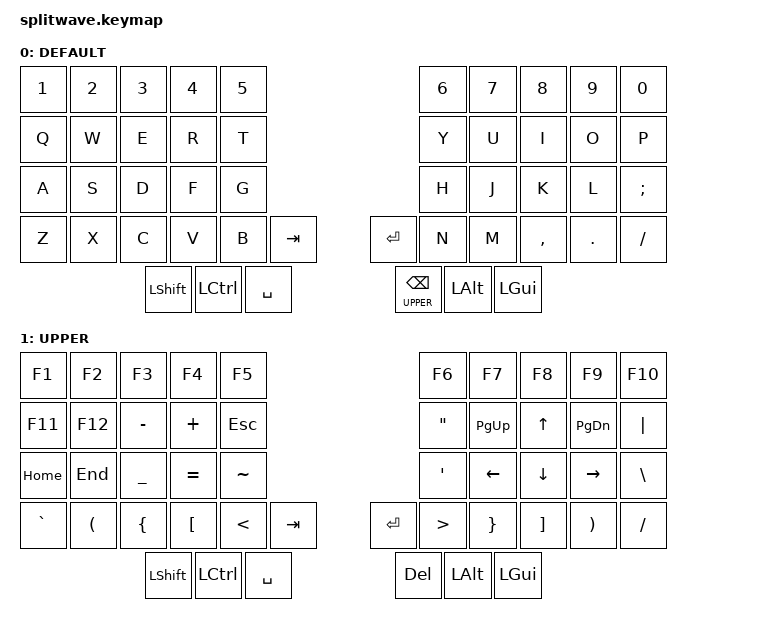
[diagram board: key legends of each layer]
/*
 * Copyright (c) 2020 The ZMK Contributors
 *
 * SPDX-License-Identifier: MIT
 */

#include <behaviors.dtsi>
#include <dt-bindings/zmk/keys.h>
#include <dt-bindings/zmk/bt.h>
#include <dt-bindings/zmk/outputs.h>

#define DEFAULT 0
#define UPPER 1
#define LOWER 2

/ {
        keymap {
                compatible = "zmk,keymap";

                default_layer {
                        display-name = "DEFAULT";
// -----------------------------------------------------------------------------------------
// | 1  |  2  |  3  |  4  |  5  |                 |  6  |  7   |  8  |  9  |  0  | 
// | Q  |  W  |  E  |  R  |  T  |                 |  Y  |  U   |  I  |  O  |  P  | 
// | A  |  S  |  D  |  F  |  G  |                 |  H  |  J   |  K  |  L  |  ;  | 
// | Z  |  X  |  C  |  V  |  B  | TAB |   | ENTER |  N  |  M   |  ,  |  .  |  /  | 
//         | LSHIFT | LCTRL | SPACE |          | BSPC | LALT | LGUI |
                        bindings = <
                &kp NUMBER_1    &kp NUMBER_2    &kp NUMBER_3    &kp NUMBER_4    &kp NUMBER_5    &kp NUMBER_6    &kp NUMBER_7    &kp NUMBER_8    &kp NUMBER_9    &kp NUMBER_0
                &kp Q    &kp W    &kp E    &kp R    &kp T    &kp Y    &kp U    &kp I    &kp O    &kp P
                &kp A    &kp S    &kp D    &kp F    &kp G    &kp H    &kp J    &kp K    &kp L    &kp SEMI
                &kp Z    &kp X    &kp C    &kp V    &kp B    &kp N    &kp M    &kp COMMA    &kp PERIOD    &kp SLASH
                        &kp LSHFT &kp LCTRL &kp SPACE &kp TAB &kp ENTER &lt UPPER BSPC &kp LALT &kp LGUI
                        >;
                };
                layer_1 {
                        display-name = "UPPER";
// -----------------------------------------------------------------------------------------
// | F1  |  F2 |  F3 |  F4 |  F5 |                 |  F6 |  F7  |  F8  |  F9  | F10 | 
// | F11 | F12 |  -  |  +  | ESC |                 |  "  | PUp  |  up  | PDWN |  |  | 
// | HOME| END |  _  |  =  |  ~  |                 |  '  | left | down | rght |  \  | 
// |  `  |  (  |  {  |  [  |  <  | TAB |   | ENTER |  >  |  }   |   ]  |  )   |  /  | 
//         | LSHIFT | LCTRL | SPACE |          | DEL | LALT | LGUI |
                        bindings = <
                &kp F1    &kp F2    &kp F3     &kp F4     &kp F5     &kp F6    &kp F7     &kp F8    &kp F9      &kp F10
                &kp F11   &kp F12   &kp MINUS  &kp PLUS   &kp ESC    &kp DQT   &kp PG_UP  &kp UP    &kp PG_DN   &kp PIPE
                &kp HOME  &kp END   &kp UNDER  &kp EQUAL  &kp TILDE  &kp SQT   &kp LEFT   &kp DOWN  &kp RIGHT   &kp BSLH
                &kp GRAVE &kp LPAR  &kp LBRC   &kp LBKT   &kp LT     &kp GT    &kp RBRC   &kp RBKT  &kp RPAR    &kp SLASH
                        &kp LSHFT &kp LCTRL &kp SPACE &kp TAB &kp ENTER &kp DEL &kp LALT &kp LGUI
                        >;
                };
        };
        
};
